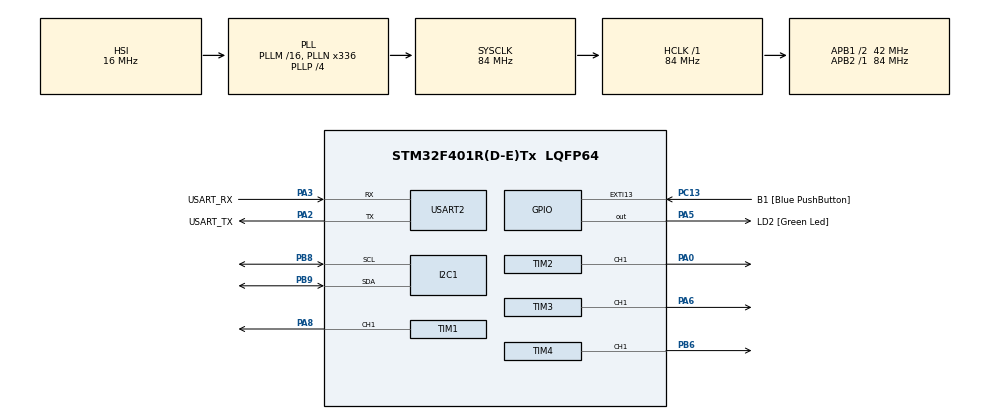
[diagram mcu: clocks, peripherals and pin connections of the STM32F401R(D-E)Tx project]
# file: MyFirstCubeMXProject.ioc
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I2C1.I2C_Mode=I2C_Standard
Mcu.Family=STM32F4
Mcu.Name=STM32F401R(D-E)Tx
Mcu.Package=LQFP64
NVIC.PriorityGroup=NVIC_PRIORITYGROUP_0
PA0-WKUP.Signal=S_TIM2_CH1_ETR
PA13.GPIO_Label=TMS
PA13.Mode=Serial_Wire
PA13.Signal=SYS_JTMS-SWDIO
PA14.GPIO_Label=TCK
PA14.Mode=Serial_Wire
PA14.Signal=SYS_JTCK-SWCLK
PA2.GPIO_Label=USART_TX
PA2.GPIO_Mode=GPIO_MODE_AF_PP
PA2.GPIO_PuPd=GPIO_NOPULL
PA2.GPIO_Speed=GPIO_SPEED_FREQ_LOW
PA2.Mode=Asynchronous
PA2.Signal=USART2_TX
PA3.GPIO_Label=USART_RX
PA3.GPIO_Mode=GPIO_MODE_AF_PP
PA3.GPIO_PuPd=GPIO_NOPULL
PA3.GPIO_Speed=GPIO_SPEED_FREQ_LOW
PA3.Mode=Asynchronous
PA3.Signal=USART2_RX
PA5.GPIO_Label=LD2 [Green Led]
PA5.GPIO_Mode=GPIO_MODE_OUTPUT_PP
PA5.GPIO_PuPd=GPIO_NOPULL
PA5.GPIO_Speed=GPIO_SPEED_FREQ_LOW
PA5.Signal=GPIO_Output
PA6.Signal=S_TIM3_CH1
PA8.Signal=S_TIM1_CH1
PB3.GPIO_Label=SWO
PB3.Signal=SYS_JTDO-SWO
PB6.Signal=S_TIM4_CH1
PB8.GPIO_Pu=GPIO_PULLUP
PB8.Mode=I2C
PB8.Signal=I2C1_SCL
PB9.GPIO_Pu=GPIO_PULLUP
PB9.Mode=I2C
PB9.Signal=I2C1_SDA
PC13-ANTI_TAMP.GPIO_Label=B1 [Blue PushButton]
PC13-ANTI_TAMP.GPIO_ModeDefaultEXTI=GPIO_MODE_IT_FALLING
PC13-ANTI_TAMP.GPIO_PuPd=GPIO_NOPULL
PC13-ANTI_TAMP.Signal=GPXTI13
PC14-OSC32_IN.Mode=LSE-External-Oscillator
PC14-OSC32_IN.Signal=RCC_OSC32_IN
PC15-OSC32_OUT.Mode=LSE-External-Oscillator
PC15-OSC32_OUT.Signal=RCC_OSC32_OUT
PH0\ -\ OSC_IN.Mode=HSE-External-Clock-Source
PH0\ -\ OSC_IN.Signal=RCC_OSC_IN
PH1\ -\ OSC_OUT.Mode=HSE-External-Clock-Source
PH1\ -\ OSC_OUT.Signal=RCC_OSC_OUT
ProjectManager.HeapSize=0x200
ProjectManager.StackSize=0x400
ProjectManager.TargetToolchain=Makefile
RCC.48MHZClocksFreq_Value=48000000
RCC.AHBFreq_Value=84000000
RCC.APB1CLKDivider=RCC_HCLK_DIV2
RCC.APB1Freq_Value=42000000
RCC.APB1TimFreq_Value=84000000
RCC.APB2Freq_Value=84000000
RCC.APB2TimFreq_Value=84000000
RCC.CortexFreq_Value=84000000
RCC.HCLKFreq_Value=84000000
RCC.HSE_VALUE=8000000
RCC.HSI_VALUE=16000000
RCC.PLLN=336
RCC.PLLP=RCC_PLLP_DIV4
RCC.PLLQ=7
RCC.SYSCLKFreq_VALUE=84000000
RCC.SYSCLKSource=RCC_SYSCLKSOURCE_PLLCLK
RCC.VCOOutputFreq_Value=336000000
SH.S_TIM1_CH1.0=TIM1_CH1,PWM Generation1 CH1
SH.S_TIM2_CH1_ETR.0=TIM2_CH1,PWM Generation1 CH1
SH.S_TIM3_CH1.0=TIM3_CH1,PWM Generation1 CH1
SH.S_TIM4_CH1.0=TIM4_CH1,PWM Generation1 CH1
TIM1.AutoReloadPreload=TIM_AUTORELOAD_PRELOAD_ENABLE
TIM1.Channel-PWM\ Generation1\ CH1=TIM_CHANNEL_1
TIM1.Period=255
TIM1.Pulse-PWM\ Generation1\ CH1=122
TIM2.Channel-PWM\ Generation1\ CH1=TIM_CHANNEL_1
TIM2.Period=255
TIM2.Pulse-PWM\ Generation1\ CH1=122
TIM3.AutoReloadPreload=TIM_AUTORELOAD_PRELOAD_ENABLE
TIM3.Channel-PWM\ Generation1\ CH1=TIM_CHANNEL_1
TIM3.Period=255
TIM3.Pulse-PWM\ Generation1\ CH1=125
TIM4.AutoReloadPreload=TIM_AUTORELOAD_PRELOAD_ENABLE
TIM4.Channel-PWM\ Generation1\ CH1=TIM_CHANNEL_1
TIM4.Period=255
TIM4.Pulse-PWM\ Generation1\ CH1=122
USART2.VirtualMode=VM_ASYNC
VP_TIM1_VS_ClockSourceINT.Mode=Internal
VP_TIM2_VS_ClockSourceINT.Mode=Internal
VP_TIM3_VS_ClockSourceINT.Mode=Internal
VP_TIM4_VS_ClockSourceINT.Mode=Internal
board=NUCLEO-F401RE

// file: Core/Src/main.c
/* USER CODE BEGIN Header */
/**
  ******************************************************************************
  * @file           : main.c
  * @brief          : Main program body
  ******************************************************************************
  * @attention
  *
  * Copyright (c) 2024 STMicroelectronics.
  * All rights reserved.
  *
  * This software is licensed under terms that can be found in the LICENSE file
  * in the root directory of this software component.
  * If no LICENSE file comes with this software, it is provided AS-IS.
  *
  ******************************************************************************
  */
/* USER CODE END Header */
#include "main.h"
#include "i2c.h"
#include "tim.h"
#include "usart.h"
#include "gpio.h"

/* USER CODE BEGIN Includes */
#include "stdio.h"
#include "../Inc/bno055_stm32/bno055_stm32.h"
#include "../Inc/stm32f4xx_hal_usart.h"
/* USER CODE END Includes */

/* USER CODE BEGIN PD */
#define LED_GPIO_Port GPIOA  // Assuming the LED is connected to GPIO Port A
#define LED_Pin GPIO_PIN_5   // Assuming the LED is connected to Pin 5 of Port A

/* USER CODE END PD */

/* USER CODE BEGIN PM */
#define DEBUG

/* USER CODE END PM */

/* USER CODE BEGIN PV */
// PID constants (tune these based on your system)
float Kp = 1.0;  // Proportional gain
float Ki = 0.1;  // Integral gain
float Kd = 0.01; // Derivative gain

// PID variables
float setpoint_pitch = 0.0;  // Desired pitch angle
float current_pitch = 0.0;   // Current pitch angle from sensor
float error = 0.0, prev_error = 0.0;
float integral = 0.0;
float derivative = 0.0;
float control_output = 0.0;

// Timing variables for PID calculation
// uint32_t last_time = HAL_GetTick();
float dt = 0.0;
/* USER CODE END PV */

void SystemClock_Config(void);

/* USER CODE BEGIN 0 */

int _write(int fd, char* ptr, int len) {
  HAL_StatusTypeDef hstatus;

  if (fd == 1 || fd == 2) {
    hstatus = HAL_UART_Transmit(&huart2, (uint8_t *) ptr, len, HAL_MAX_DELAY);
    if (hstatus == HAL_OK)
      return len;
    else
      return -1;
  }
  return -1;
}

/* PID constants (tune these for your quadcopter) */
float Kp_roll = 1.0, Ki_roll = 0.1, Kd_roll = 0.01;
float Kp_pitch = 1.0, Ki_pitch = 0.1, Kd_pitch = 0.01;
float Kp_yaw = 1.0, Ki_yaw = 0.1, Kd_yaw = 0.01;

/* PID state variables */
float roll_setpoint = 0.0, pitch_setpoint = 0.0, yaw_setpoint = 0.0;
float roll_error = 0.0, pitch_error = 0.0, yaw_error = 0.0;
float roll_integral = 0.0, pitch_integral = 0.0, yaw_integral = 0.0;
float roll_derivative = 0.0, pitch_derivative = 0.0, yaw_derivative = 0.0;
float prev_roll_error = 0.0, prev_pitch_error = 0.0, prev_yaw_error = 0.0;

/* Motor control variables */
float motor1_output = 0.0, motor2_output = 0.0, motor3_output = 0.0, motor4_output = 0.0;
/* USER CODE END 0 */
int main(void)
{
    /* MCU Configuration */
    HAL_Init();
    SystemClock_Config();

    /* Initialize peripherals */
    MX_GPIO_Init();
    MX_USART2_UART_Init();
    MX_TIM1_Init();
    MX_TIM2_Init();
    MX_TIM3_Init();
    MX_TIM4_Init();
    MX_I2C1_Init();

    /* Start PWM on all motor timers */
    HAL_TIM_PWM_Start(&htim1, TIM_CHANNEL_1); // TIM1, port PA8, nucleo pin D7
    HAL_TIM_PWM_Start(&htim2, TIM_CHANNEL_1); // TIM2, port PA0-WKUP, nucleo pin D12
    HAL_TIM_PWM_Start(&htim3, TIM_CHANNEL_1); // TIM3, port PA6, nucleo pin D10
    HAL_TIM_PWM_Start(&htim4, TIM_CHANNEL_1); // TIM4, port PB6, nucleo pin A0
    /*
     Front
        ^
        |
        |(htim1)       (htim2)
        |  CW            CCW
       +-------------------+
       |                   |
       |                   |
       |                   |
       +-------------------+
        |(htim3)       (htim4)
        | CCW            CW
        |
        v
    */

    /* USER CODE BEGIN 1 */
    /* Initialize BNO055 sensor */
    bno055_assignI2C(&hi2c1);
    HAL_Delay(100);
    bno055_setup();
    HAL_Delay(100);
    bno055_setOperationModeNDOF();
    HAL_Delay(1000);  // Add a delay after sensor initialization

    uint32_t last_time = HAL_GetTick();
    /* USER CODE END 1 */

    /* Infinite loop */
    /* USER CODE BEGIN WHILE */
    while (1)
    {
        uint32_t now = HAL_GetTick();
        float dt = (now - last_time) / 1000.0f; // Time in seconds
        last_time = now;

        /* Read Euler angles from BNO055 sensor */
        bno055_vector_t v = bno055_getVectorEuler();
        float current_yaw = v.x;   // Yaw angle
        float current_pitch = v.y;  // Pitch angle
        float current_roll = v.z;    // Roll angle

        if (current_roll > 180.0f) {
            current_roll -= 360.0f;
        }

        if (current_yaw > 180.0f) {
            current_yaw -= 360.0f;
        }

        if (current_pitch > 180.0f) {
            current_pitch = 360.0f - current_pitch;
        }

        // i am holding it like:
        /* Board layout:

                +----------+
                |         *| RST   PITCH  ROLL    YAW
            ADR |*        *| SCL
            INT |*        *| SDA     ^            /->
            PS1 |*        *| GND     |            |
            PS0 |*        *| 3VO     Y    Z-->    \-X
                |         *| VIN
                +----------+

        */

        /* Roll PID calculations */
        roll_error = roll_setpoint - current_roll;
        roll_integral += roll_error * dt;
        roll_derivative = (roll_error - prev_roll_error) / dt;
        float roll_output = Kp_roll * roll_error + Ki_roll * roll_integral + Kd_roll * roll_derivative;
        prev_roll_error = roll_error;

        /* Pitch PID calculations */
        pitch_error = pitch_setpoint - current_pitch;
        pitch_integral += pitch_error * dt;
        pitch_derivative = (pitch_error - prev_pitch_error) / dt;
        float pitch_output = Kp_pitch * pitch_error + Ki_pitch * pitch_integral + Kd_pitch * pitch_derivative;
        prev_pitch_error = pitch_error;

        /* Yaw PID calculations */
        yaw_error = yaw_setpoint - current_yaw;
        yaw_integral += yaw_error * dt;
        yaw_derivative = (yaw_error - prev_yaw_error) / dt;
        float yaw_output = Kp_yaw * yaw_error + Ki_yaw * yaw_integral + Kd_yaw * yaw_derivative;
        prev_yaw_error = yaw_error;

        /* Calculate motor outputs */
        motor1_output = 50 + roll_output + pitch_output - yaw_output;
        motor2_output = 50 - roll_output + pitch_output + yaw_output;
        motor3_output = 50 + roll_output - pitch_output + yaw_output;
        motor4_output = 50 - roll_output - pitch_output - yaw_output;

        /* Ensure motor outputs are within valid range (e.g., 1000 to 2000 for ESCs) */
        motor1_output = motor1_output < 0 ? 0 : (motor1_output > 255 ? 255 : motor1_output);
        motor2_output = motor2_output < 0 ? 0 : (motor2_output > 255 ? 255 : motor2_output);
        motor3_output = motor3_output < 0 ? 0 : (motor3_output > 255 ? 255 : motor3_output);
        motor4_output = motor4_output < 0 ? 0 : (motor4_output > 255 ? 255 : motor4_output);

        /* Update PWM duty cycle to control motor speeds */
        __HAL_TIM_SET_COMPARE(&htim1, TIM_CHANNEL_1, motor1_output);
        __HAL_TIM_SET_COMPARE(&htim2, TIM_CHANNEL_1, motor2_output);
        __HAL_TIM_SET_COMPARE(&htim3, TIM_CHANNEL_1, motor3_output);
        __HAL_TIM_SET_COMPARE(&htim4, TIM_CHANNEL_1, motor4_output);

        /* Optional: Add a small delay to avoid too frequent updates */
        HAL_Delay(10);

        /* USER CODE END WHILE */

    }
}

void SystemClock_Config(void)
{
  RCC_OscInitTypeDef RCC_OscInitStruct = {0};
  RCC_ClkInitTypeDef RCC_ClkInitStruct = {0};

  /** Configure the main internal regulator output voltage
  */
  __HAL_RCC_PWR_CLK_ENABLE();
  __HAL_PWR_VOLTAGESCALING_CONFIG(PWR_REGULATOR_VOLTAGE_SCALE2);

  /** Initializes the RCC Oscillators according to the specified parameters
  * in the RCC_OscInitTypeDef structure.
  */
  RCC_OscInitStruct.OscillatorType = RCC_OSCILLATORTYPE_HSI;
  RCC_OscInitStruct.HSIState = RCC_HSI_ON;
  RCC_OscInitStruct.HSICalibrationValue = RCC_HSICALIBRATION_DEFAULT;
  RCC_OscInitStruct.PLL.PLLState = RCC_PLL_ON;
  RCC_OscInitStruct.PLL.PLLSource = RCC_PLLSOURCE_HSI;
  RCC_OscInitStruct.PLL.PLLM = 16;
  RCC_OscInitStruct.PLL.PLLN = 336;
  RCC_OscInitStruct.PLL.PLLP = RCC_PLLP_DIV4;
  RCC_OscInitStruct.PLL.PLLQ = 7;
  if (HAL_RCC_OscConfig(&RCC_OscInitStruct) != HAL_OK)
  {
    Error_Handler();
  }

  /** Initializes the CPU, AHB and APB buses clocks
  */
  RCC_ClkInitStruct.ClockType = RCC_CLOCKTYPE_HCLK|RCC_CLOCKTYPE_SYSCLK
                              |RCC_CLOCKTYPE_PCLK1|RCC_CLOCKTYPE_PCLK2;
  RCC_ClkInitStruct.SYSCLKSource = RCC_SYSCLKSOURCE_PLLCLK;
  RCC_ClkInitStruct.AHBCLKDivider = RCC_SYSCLK_DIV1;
  RCC_ClkInitStruct.APB1CLKDivider = RCC_HCLK_DIV2;
  RCC_ClkInitStruct.APB2CLKDivider = RCC_HCLK_DIV1;

  if (HAL_RCC_ClockConfig(&RCC_ClkInitStruct, FLASH_LATENCY_2) != HAL_OK)
  {
    Error_Handler();
  }
}

void Error_Handler(void)
{
  __disable_irq();
  while (1)
  {
  }
}
